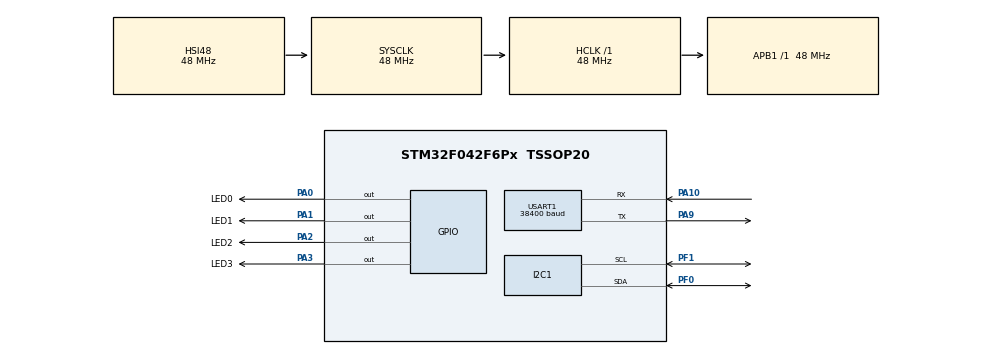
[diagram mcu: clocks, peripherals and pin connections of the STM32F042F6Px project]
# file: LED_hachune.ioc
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Mcu.Family=STM32F0
Mcu.Name=STM32F042F6Px
Mcu.Package=TSSOP20
PA0.GPIO_Label=LED0
PA0.GPIO_Speed=GPIO_SPEED_FREQ_HIGH
PA0.Signal=GPIO_Output
PA1.GPIO_Label=LED1
PA1.GPIO_Speed=GPIO_SPEED_FREQ_HIGH
PA1.Signal=GPIO_Output
PA10.Mode=Asynchronous
PA10.Signal=USART1_RX
PA13.Mode=Serial_Wire
PA13.Signal=SYS_SWDIO
PA14.Mode=Serial_Wire
PA14.Signal=SYS_SWCLK
PA2.GPIO_Label=LED2
PA2.GPIO_Speed=GPIO_SPEED_FREQ_HIGH
PA2.Signal=GPIO_Output
PA3.GPIO_Label=LED3
PA3.GPIO_Speed=GPIO_SPEED_FREQ_HIGH
PA3.Signal=GPIO_Output
PA9.Mode=Asynchronous
PA9.Signal=USART1_TX
PF0-OSC_IN.Mode=I2C
PF0-OSC_IN.Signal=I2C1_SDA
PF1-OSC_OUT.Mode=I2C
PF1-OSC_OUT.Signal=I2C1_SCL
ProjectManager.HeapSize=0x200
ProjectManager.StackSize=0x400
ProjectManager.TargetToolchain=TrueSTUDIO
RCC.AHBFreq_Value=48000000
RCC.APB1Freq_Value=48000000
RCC.APB1TimFreq_Value=48000000
RCC.HCLKFreq_Value=48000000
RCC.PLLSourceVirtual=RCC_PLLSOURCE_HSI48
RCC.SYSCLKFreq_VALUE=48000000
RCC.SYSCLKSource=RCC_SYSCLKSOURCE_HSI48
USART1.BaudRate=38400
USART1.VirtualMode=VM_ASYNC
board=custom

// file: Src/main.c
/**
  ******************************************************************************
  * @file           : main.c
  * @brief          : Main program body
  ******************************************************************************
  ** This notice applies to any and all portions of this file
  * that are not between comment pairs USER CODE BEGIN and
  * USER CODE END. Other portions of this file, whether
  * inserted by the user or by software development tools
  * are owned by their respective copyright owners.
  *
  * COPYRIGHT(c) 2018 STMicroelectronics
  *
  * Redistribution and use in source and binary forms, with or without modification,
  * are permitted provided that the following conditions are met:
  *   1. Redistributions of source code must retain the above copyright notice,
  *      this list of conditions and the following disclaimer.
  *   2. Redistributions in binary form must reproduce the above copyright notice,
  *      this list of conditions and the following disclaimer in the documentation
  *      and/or other materials provided with the distribution.
  *   3. Neither the name of STMicroelectronics nor the names of its contributors
  *      may be used to endorse or promote products derived from this software
  *      without specific prior written permission.
  *
  * THIS SOFTWARE IS PROVIDED BY THE COPYRIGHT HOLDERS AND CONTRIBUTORS "AS IS"
  * AND ANY EXPRESS OR IMPLIED WARRANTIES, INCLUDING, BUT NOT LIMITED TO, THE
  * IMPLIED WARRANTIES OF MERCHANTABILITY AND FITNESS FOR A PARTICULAR PURPOSE ARE
  * DISCLAIMED. IN NO EVENT SHALL THE COPYRIGHT HOLDER OR CONTRIBUTORS BE LIABLE
  * FOR ANY DIRECT, INDIRECT, INCIDENTAL, SPECIAL, EXEMPLARY, OR CONSEQUENTIAL
  * DAMAGES (INCLUDING, BUT NOT LIMITED TO, PROCUREMENT OF SUBSTITUTE GOODS OR
  * SERVICES; LOSS OF USE, DATA, OR PROFITS; OR BUSINESS INTERRUPTION) HOWEVER
  * CAUSED AND ON ANY THEORY OF LIABILITY, WHETHER IN CONTRACT, STRICT LIABILITY,
  * OR TORT (INCLUDING NEGLIGENCE OR OTHERWISE) ARISING IN ANY WAY OUT OF THE USE
  * OF THIS SOFTWARE, EVEN IF ADVISED OF THE POSSIBILITY OF SUCH DAMAGE.
  *
  ******************************************************************************
  */
#include "main.h"
#include "stm32f0xx_hal.h"

/* USER CODE BEGIN Includes */
#include <stdio.h>
#include "led_hachune.h"
/* USER CODE END Includes */

I2C_HandleTypeDef hi2c1;

UART_HandleTypeDef huart1;

/* USER CODE BEGIN PV */
/* Private variables ---------------------------------------------------------*/
// 標準出力をUART1へ
#ifdef __GNUC__
#define PUTCHAR_PROTOTYPE int __io_putchar(int ch)
#else
#define PUTCHAR_PROTOTYPE int fputc(int ch, FILE *f)
#endif /* __GNUC__ */
void __io_putchar(uint8_t ch) {
  HAL_UART_Transmit(&huart1, &ch, 1, 1);
}

/* USER CODE END PV */

void SystemClock_Config(void);
static void MX_GPIO_Init(void);
static void MX_I2C1_Init(void);
static void MX_USART1_UART_Init(void);

/* USER CODE BEGIN PFP */
/* Private function prototypes -----------------------------------------------*/

/* USER CODE END PFP */

/* USER CODE BEGIN 0 */

//test_uart
void test_uart(){
  printf("Hello UART1!\n");
  uint8_t c;
  while (1){
    if( HAL_UART_Receive( &huart1, &c, 1, 0xFFFF ) == HAL_OK ){
      printf("UART1: %c\n", c);
    }
  }
}

/* USER CODE END 0 */

int main(void)
{

  /* MCU Configuration----------------------------------------------------------*/

  /* Reset of all peripherals, Initializes the Flash interface and the Systick. */
  HAL_Init();

  /* USER CODE BEGIN Init */
  setbuf(stdout, NULL);
  /* USER CODE END Init */

  /* Configure the system clock */
  SystemClock_Config();

  /* Initialize all configured peripherals */
  MX_GPIO_Init();
  MX_I2C1_Init();
  MX_USART1_UART_Init();
  /* USER CODE BEGIN 2 */
  //test_uart();

  uint32_t c=0;

  led_hachune_t hachune[3];

  /* USER CODE END 2 */

  /* Infinite loop */
  while (1)
  {

  /* USER CODE BEGIN 3 */

	//うるさいやつ
	for(int i=0;i<360*5;i++){
		hachune[0].led[0] = get_hsv(i%360,255,255);
		hachune[0].led[1] = get_hsv((i+30)%360,255,255);
		hachune[0].led[2] = get_color(0x000000);
		hachune[0].led[3] = get_color(0x000000);

		hachune[1].led[0] = get_hsv(i%360,255,255);
		hachune[1].led[1] = get_color(0x000000);
		hachune[1].led[2] = get_hsv((i+30)%360,255,255);
		hachune[1].led[3] = get_color(0x000000);

		hachune[2].led[0] = get_hsv(i%360,255,255);
		hachune[2].led[1] = get_color(0x000000);
		hachune[2].led[2] = get_color(0x000000);
		hachune[2].led[3] = get_hsv((i+30)%360,255,255);

		led_hachune(&hachune[(i/45)%4 != 3 ? (i/45)%4 : 1 ]);

		HAL_Delay(6);
	}

	//Y配色
	hachune[0].led[0] = get_color(0x00fa9a);
	hachune[0].led[1] = get_color(0x00FF00);
	hachune[0].led[2] = get_color(0x000000);
	hachune[0].led[3] = get_color(0x000000);

	hachune[1].led[0] = get_color(0x00fa9a);
	hachune[1].led[1] = get_color(0x000000);
	hachune[1].led[2] = get_color(0x00FF00);
	hachune[1].led[3] = get_color(0x000000);

	hachune[2].led[0] = get_color(0x00fa9a);
	hachune[2].led[1] = get_color(0x000000);
	hachune[2].led[2] = get_color(0x000000);
	hachune[2].led[3] = get_color(0x00FF00);

	for(int i=0;i<10;i++){
		led_hachune(&hachune[0]);
		HAL_Delay(300);
		led_hachune(&hachune[1]);
		HAL_Delay(300);
		led_hachune(&hachune[2]);
		HAL_Delay(300);
		led_hachune(&hachune[1]);
		HAL_Delay(300);
	}

	//R配色
	hachune[0].led[0] = get_color(0x4DFFE4);
	hachune[0].led[1] = get_color(0x89FF42);
	hachune[0].led[2] = get_color(0x000000);
	hachune[0].led[3] = get_color(0x000000);

	hachune[1].led[0] = get_color(0x4DFFE4);
	hachune[1].led[1] = get_color(0x000000);
	hachune[1].led[2] = get_color(0x89FF42);
	hachune[1].led[3] = get_color(0x000000);

	hachune[2].led[0] = get_color(0x4DFFE4);
	hachune[2].led[1] = get_color(0x000000);
	hachune[2].led[2] = get_color(0x000000);
	hachune[2].led[3] = get_color(0x89FF42);

	for(int i=0;i<10;i++){
		led_hachune(&hachune[0]);
		HAL_Delay(300);
		led_hachune(&hachune[1]);
		HAL_Delay(300);
		led_hachune(&hachune[2]);
		HAL_Delay(300);
		led_hachune(&hachune[1]);
		HAL_Delay(300);
	}

  }
  /* USER CODE END 3 */

}

void SystemClock_Config(void)
{

  RCC_OscInitTypeDef RCC_OscInitStruct;
  RCC_ClkInitTypeDef RCC_ClkInitStruct;
  RCC_PeriphCLKInitTypeDef PeriphClkInit;

    /**Initializes the CPU, AHB and APB busses clocks
    */
  RCC_OscInitStruct.OscillatorType = RCC_OSCILLATORTYPE_HSI|RCC_OSCILLATORTYPE_HSI48;
  RCC_OscInitStruct.HSIState = RCC_HSI_ON;
  RCC_OscInitStruct.HSI48State = RCC_HSI48_ON;
  RCC_OscInitStruct.HSICalibrationValue = 16;
  RCC_OscInitStruct.PLL.PLLState = RCC_PLL_NONE;
  if (HAL_RCC_OscConfig(&RCC_OscInitStruct) != HAL_OK)
  {
    _Error_Handler(__FILE__, __LINE__);
  }

    /**Initializes the CPU, AHB and APB busses clocks
    */
  RCC_ClkInitStruct.ClockType = RCC_CLOCKTYPE_HCLK|RCC_CLOCKTYPE_SYSCLK
                              |RCC_CLOCKTYPE_PCLK1;
  RCC_ClkInitStruct.SYSCLKSource = RCC_SYSCLKSOURCE_HSI48;
  RCC_ClkInitStruct.AHBCLKDivider = RCC_SYSCLK_DIV1;
  RCC_ClkInitStruct.APB1CLKDivider = RCC_HCLK_DIV1;

  if (HAL_RCC_ClockConfig(&RCC_ClkInitStruct, FLASH_LATENCY_1) != HAL_OK)
  {
    _Error_Handler(__FILE__, __LINE__);
  }

  PeriphClkInit.PeriphClockSelection = RCC_PERIPHCLK_USART1|RCC_PERIPHCLK_I2C1;
  PeriphClkInit.Usart1ClockSelection = RCC_USART1CLKSOURCE_PCLK1;
  PeriphClkInit.I2c1ClockSelection = RCC_I2C1CLKSOURCE_HSI;
  if (HAL_RCCEx_PeriphCLKConfig(&PeriphClkInit) != HAL_OK)
  {
    _Error_Handler(__FILE__, __LINE__);
  }

    /**Configure the Systick interrupt time
    */
  HAL_SYSTICK_Config(HAL_RCC_GetHCLKFreq()/1000);

    /**Configure the Systick
    */
  HAL_SYSTICK_CLKSourceConfig(SYSTICK_CLKSOURCE_HCLK);

  /* SysTick_IRQn interrupt configuration */
  HAL_NVIC_SetPriority(SysTick_IRQn, 0, 0);
}

/* I2C1 init function */
static void MX_I2C1_Init(void)
{

  hi2c1.Instance = I2C1;
  hi2c1.Init.Timing = 0x2000090E;
  hi2c1.Init.OwnAddress1 = 0;
  hi2c1.Init.AddressingMode = I2C_ADDRESSINGMODE_7BIT;
  hi2c1.Init.DualAddressMode = I2C_DUALADDRESS_DISABLE;
  hi2c1.Init.OwnAddress2 = 0;
  hi2c1.Init.OwnAddress2Masks = I2C_OA2_NOMASK;
  hi2c1.Init.GeneralCallMode = I2C_GENERALCALL_DISABLE;
  hi2c1.Init.NoStretchMode = I2C_NOSTRETCH_DISABLE;
  if (HAL_I2C_Init(&hi2c1) != HAL_OK)
  {
    _Error_Handler(__FILE__, __LINE__);
  }

    /**Configure Analogue filter
    */
  if (HAL_I2CEx_ConfigAnalogFilter(&hi2c1, I2C_ANALOGFILTER_ENABLE) != HAL_OK)
  {
    _Error_Handler(__FILE__, __LINE__);
  }

    /**Configure Digital filter
    */
  if (HAL_I2CEx_ConfigDigitalFilter(&hi2c1, 0) != HAL_OK)
  {
    _Error_Handler(__FILE__, __LINE__);
  }

}

/* USART1 init function */
static void MX_USART1_UART_Init(void)
{

  huart1.Instance = USART1;
  huart1.Init.BaudRate = 38400;
  huart1.Init.WordLength = UART_WORDLENGTH_8B;
  huart1.Init.StopBits = UART_STOPBITS_1;
  huart1.Init.Parity = UART_PARITY_NONE;
  huart1.Init.Mode = UART_MODE_TX_RX;
  huart1.Init.HwFlowCtl = UART_HWCONTROL_NONE;
  huart1.Init.OverSampling = UART_OVERSAMPLING_16;
  huart1.Init.OneBitSampling = UART_ONE_BIT_SAMPLE_DISABLE;
  huart1.AdvancedInit.AdvFeatureInit = UART_ADVFEATURE_NO_INIT;
  if (HAL_UART_Init(&huart1) != HAL_OK)
  {
    _Error_Handler(__FILE__, __LINE__);
  }

}

/** Configure pins as
        * Analog
        * Input
        * Output
        * EVENT_OUT
        * EXTI
*/
static void MX_GPIO_Init(void)
{

  GPIO_InitTypeDef GPIO_InitStruct;

  /* GPIO Ports Clock Enable */
  __HAL_RCC_GPIOF_CLK_ENABLE();
  __HAL_RCC_GPIOA_CLK_ENABLE();

  /*Configure GPIO pin Output Level */
  HAL_GPIO_WritePin(GPIOA, LED0_Pin|LED1_Pin|LED2_Pin|LED3_Pin, GPIO_PIN_RESET);

  /*Configure GPIO pins : LED0_Pin LED1_Pin LED2_Pin LED3_Pin */
  GPIO_InitStruct.Pin = LED0_Pin|LED1_Pin|LED2_Pin|LED3_Pin;
  GPIO_InitStruct.Mode = GPIO_MODE_OUTPUT_PP;
  GPIO_InitStruct.Pull = GPIO_NOPULL;
  GPIO_InitStruct.Speed = GPIO_SPEED_FREQ_HIGH;
  HAL_GPIO_Init(GPIOA, &GPIO_InitStruct);

}

void _Error_Handler(char *file, int line)
{
  while(1)
  {
  }
}

/************************ (C) COPYRIGHT STMicroelectronics *****END OF FILE****/
